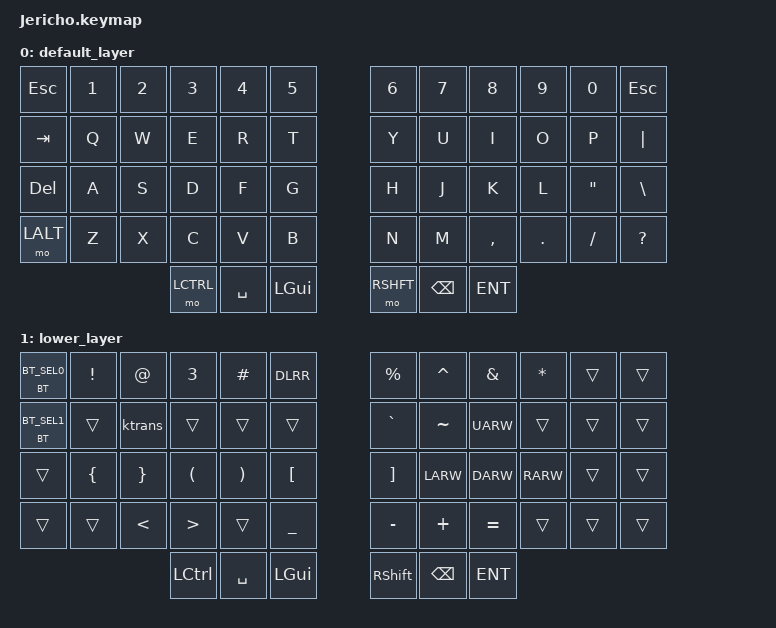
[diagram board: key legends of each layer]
#include <behaviors.dtsi>
#include <dt-bindings/zmk/keys.h>
#include <dt-bindings/zmk/bt.h>

/ {
        keymap {
                compatible = "zmk,keymap";

                default_layer {
// -----------------------------------------------------------------------------------------
// | ESC |  1  |  2  |  3  |  4  |  5  |   |  6  |  7   |  8  |  9  |  0  | BSPC |
// | TAB |  Q  |  W  |  E  |  R  |  T  |   |  Y  |  U   |  I  |  O  |  P  |   |  |
// | DEL |  A  |  S  |  D  |  F  |  G  |   |  H  |  J   |  K  |  L  |  "  |  \   |
// | ALT |  Z  |  X  |  C  |  V  |  B  |   |  N  |  M   |  ,  |  .  |  /  |   ?  |
//                    | CTL | SPC | GUI | | SHFT | BSPC | ENT |
                        bindings = <
   &kp ESC   &kp N1   &kp N2   &kp N3    &kp N4    &kp N5      &kp N6    &kp N7    &kp N8    &kp N9  &kp N0   &kp ESC
   &kp TAB   &kp Q    &kp W    &kp E     &kp R     &kp T       &kp Y     &kp U     &kp I     &kp O   &kp P    &kp PIPE
   &kp DEL   &kp A    &kp S    &kp D     &kp F     &kp G       &kp H     &kp J     &kp K     &kp L   &kp DQT  &kp BSLH
   &mo LALT  &kp Z    &kp X    &kp C     &kp V     &kp B       &kp N     &kp M     &kp COMMA &kp DOT &kp FSLH &kp QMARK
                               &mo LCTRL &kp SPACE &kp LGUI    &mo RSHFT &kp BSPC  &kp ENT
                        >;
                };
                lower_layer {
// -----------------------------------------------------------------------------------------
// |     | EXCL | AT | HASH|DLRR |PRCNT|   |CARET| AMPS | STAR|     |     |      |
// |     |     |     |     |     |     |   |GRAVE| TILDE|UARW |     |     |      |
// |     | LBRC| RBRC| LPAR| RPAR| LBKT|   | RBKT|LARW  |DARW |RARW |     |      |
// |     |     |     |  <  |  >  |UNDER|   |MINUS| PLUS |EQUAL|     |     |      |
//                    | CTL | SPC | GUI | | SHFT | BSPC | ENT | 
                        bindings = <
   &BT BT_SEL0 &kp EXCL   &kp AT   &kp N3    &kp HASH  &kp DLRR    &kp PRCNT &kp CARET &kp AMPS  &kp STAR  &trans &trans
   &BT BT_SEL1 &trans     &ktrans  &trans    &trans    &trans      &kp GRAVE &kp TILDE &kp UARW  &trans    &trans &trans
   &trans      &kp LBRC   &kp RBRC &kp LPAR  &kp RPAR  &kp LBKT    &kp RBKT  &kp LARW  &kp DARW  &kp RARW  &trans &trans
   &trans      &trans     &kp LT   &kp GT    &trans    &kp UNDER   &kp MINUS &kp PLUS  &kp EQUAL &trans    &trans &trans
                                  &kp LCTRL &kp SPACE &kp LGUI    &kp RSHFT &kp BSPC  &kp ENT
                        >;
                };
        };
};
